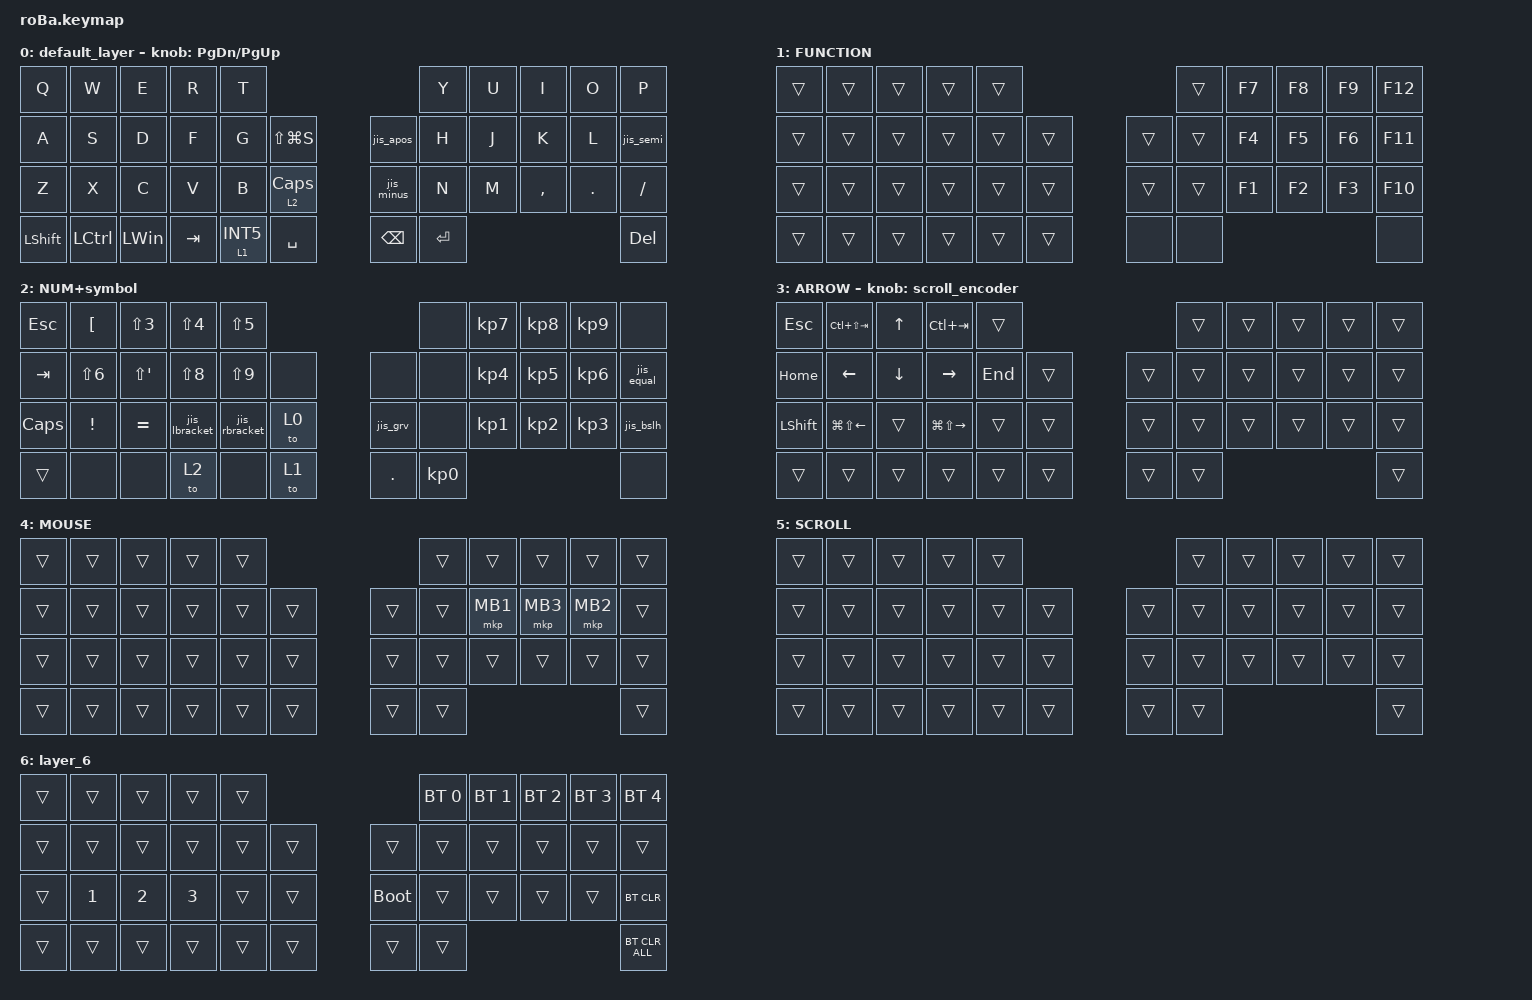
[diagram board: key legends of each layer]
#include <input/processors.dtsi>
#include <behaviors.dtsi>
#include <dt-bindings/zmk/bt.h>
#include <dt-bindings/zmk/keys.h>
#include <dt-bindings/zmk/pointing.h>

&mt {
    flavor = "balanced";
    quick-tap-ms = <0>;
};

&msc {
    acceleration-exponent = <0>;
    trigger-period-ms = <8>;
    time-to-max-speed-ms = <300>;
    delay-ms = <0>;
};

&trackball {
    automouse-layer = <4>;
    scroll-layers = <5>;

    // arrows {
    //     layers = <3>;
    //     bindings =
    //         <&kp RIGHT_ARROW>,
    //         <&kp LEFT_ARROW>,
    //         <&kp UP_ARROW>,
    //         <&kp DOWN_ARROW>;

    //     tick = <10>;
    //     wait-ms = <5>;
    //     tap-ms = <5>;
    // };
};

/ {
    scroll_encoder: scroll_encoder {
        compatible = "zmk,behavior-sensor-rotate";
        #sensor-binding-cells = <0>;
        bindings = <&msc MOVE_UP>, <&msc MOVE_DOWN>;
        tap-ms = <24>;
    };

    combos {
        compatible = "zmk,combos";

        double_quotation {
            bindings = <&kp DOUBLE_QUOTES>;
            key-positions = <20 21>;
        };

        eq {
            bindings = <&kp EQUAL>;
            key-positions = <24 25>;
        };
    };

    macros {
        to_layer_0: to_layer_0 {
            compatible = "zmk,behavior-macro-one-param";
            #binding-cells = <1>;
            bindings = <&to 0 &macro_param_1to1 &kp MACRO_PLACEHOLDER>;
            label = "TO_LAYER_0";
        };

        quote_pair: quote_pair {
            compatible = "zmk,behavior-macro";
            #binding-cells = <0>;
            bindings =
                <&kp RIGHT_BRACKET>,
                <&kp BACKSLASH>,
                <&kp LEFT_ARROW>;
            label = "QUOTE_PAIR";
        };

        brace_pair: brace_pair {
            compatible = "zmk,behavior-macro";
            #binding-cells = <0>;
            bindings =
                <&kp LEFT_BRACE>,
                <&kp RIGHT_BRACE>,
                <&kp LEFT_ARROW>;
            label = "BRACE_PAIR";
        };

        paren_pair: paren_pair {
            compatible = "zmk,behavior-macro";
            #binding-cells = <0>;
            bindings =
                <&kp LEFT_PARENTHESIS>,
                <&kp RIGHT_PARENTHESIS>,
                <&kp LEFT_ARROW>;
            label = "PAREN_PAIR";
        };
    };

    behaviors {
        jis_n2: jis_n2 {
            compatible = "zmk,behavior-mod-morph";
            #binding-cells = <0>;
            bindings = <&kp N2>, <&kp LEFT_BRACKET>;
            mods = <(MOD_LSFT|MOD_RSFT)>;
        };

        jis_n6: jis_n6 {
            compatible = "zmk,behavior-mod-morph";
            #binding-cells = <0>;
            bindings = <&kp N6>, <&kp EQUAL>;
            mods = <(MOD_LSFT|MOD_RSFT)>;
        };

        jis_n7: jis_n7 {
            compatible = "zmk,behavior-mod-morph";
            #binding-cells = <0>;
            bindings = <&kp N7>, <&kp LS(N6)>;
            mods = <(MOD_LSFT|MOD_RSFT)>;
        };

        jis_n8: jis_n8 {
            compatible = "zmk,behavior-mod-morph";
            #binding-cells = <0>;
            bindings = <&kp N8>, <&kp LS(APOS)>;
            mods = <(MOD_LSFT|MOD_RSFT)>;
        };

        jis_n9: jis_n9 {
            compatible = "zmk,behavior-mod-morph";
            #binding-cells = <0>;
            bindings = <&kp N9>, <&kp LS(N8)>;
            mods = <(MOD_LSFT|MOD_RSFT)>;
        };

        jis_n0: jis_n0 {
            compatible = "zmk,behavior-mod-morph";
            #binding-cells = <0>;
            bindings = <&kp N0>, <&kp LS(N9)>;
            mods = <(MOD_LSFT|MOD_RSFT)>;
        };

        jis_minus: jis_minus {
            compatible = "zmk,behavior-mod-morph";
            #binding-cells = <0>;
            bindings = <&kp MINUS>, <&kp LS(INT1)>;
            mods = <(MOD_LSFT|MOD_RSFT)>;
        };

        jis_equal: jis_equal {
            compatible = "zmk,behavior-mod-morph";
            #binding-cells = <0>;
            bindings = <&kp LS(MINUS)>, <&kp LS(SEMI)>;
            mods = <(MOD_LSFT|MOD_RSFT)>;
        };

        jis_lbracket: jis_lbracket {
            compatible = "zmk,behavior-mod-morph";
            #binding-cells = <0>;
            bindings = <&kp LEFT_BRACKET>, <&kp LS(LEFT_BRACKET)>;
            mods = <(MOD_LSFT|MOD_RSFT)>;
        };

        jis_rbracket: jis_rbracket {
            compatible = "zmk,behavior-mod-morph";
            #binding-cells = <0>;
            bindings = <&kp RIGHT_BRACKET>, <&kp LS(RIGHT_BRACKET)>;
            mods = <(MOD_LSFT|MOD_RSFT)>;
        };

        jis_semi: jis_semi {
            compatible = "zmk,behavior-mod-morph";
            #binding-cells = <0>;
            bindings = <&kp SEMI>, <&kp APOS>;
            mods = <(MOD_LSFT|MOD_RSFT)>;
        };

        jis_apos: jis_apos {
            compatible = "zmk,behavior-mod-morph";
            #binding-cells = <0>;
            bindings = <&kp LS(N7)>, <&kp LS(N2)>;
            mods = <(MOD_LSFT|MOD_RSFT)>;
        };

        jis_bslh: jis_bslh {
            compatible = "zmk,behavior-mod-morph";
            #binding-cells = <0>;
            bindings = <&kp INT1>, <&kp LS(INT3)>;
            mods = <(MOD_LSFT|MOD_RSFT)>;
        };

        jis_grv: jis_grv {
            compatible = "zmk,behavior-mod-morph";
            #binding-cells = <0>;
            bindings = <&kp LS(LEFT_BRACKET)>, <&kp LS(EQUAL)>;
            mods = <(MOD_LSFT|MOD_RSFT)>;
        };

        quote_or_brace_pair: quote_or_brace_pair {
            compatible = "zmk,behavior-mod-morph";
            #binding-cells = <0>;
            bindings = <&quote_pair>, <&brace_pair>;
            mods = <(MOD_LSFT|MOD_RSFT)>;
        };

        lt_to_layer_0: lt_to_layer_0 {
            compatible = "zmk,behavior-hold-tap";
            label = "LAYER_TAP_TO_0";
            bindings = <&mo>, <&to_layer_0>;

            #binding-cells = <2>;
            tapping-term-ms = <200>;
        };
    };

    keymap {
        compatible = "zmk,keymap";

        default_layer {
            bindings = <
&kp Q             &kp W         &kp E         &kp R                        &kp T                                                          &kp Y        &kp U  &kp I    &kp O    &kp P
&kp A             &kp S         &kp D         &kp F                        &kp G        &kp LS(LG(S))                      &jis_apos      &kp H        &kp J  &kp K      &kp L    &jis_semi
&kp Z             &kp X         &kp C         &kp V                        &kp B        &lt 2 CAPS                         &jis_minus  &kp N        &kp M  &kp COMMA  &kp DOT  &kp SLASH
&kp LEFT_SHIFT    &kp LCTRL     &kp LEFT_WIN  &kp TAB                      &lt 1 INT5     &kp SPACE                         &kp BACKSPACE  &kp ENTER                           &kp DEL
            >;

            sensor-bindings = <&inc_dec_kp PAGE_DOWN PG_UP >;
        };

        FUNCTION {
            bindings = <
&trans  &trans  &trans  &trans  &trans                       &trans  &kp F7  &kp F8  &kp F9  &kp F12
&trans  &trans  &trans  &trans  &trans  &trans      &trans   &trans  &kp F4  &kp F5  &kp F6  &kp F11
&trans  &trans  &trans  &trans  &trans  &trans      &trans   &trans  &kp F1  &kp F2  &kp F3  &kp F10
&trans  &trans  &trans  &trans  &trans  &trans      &none  &none                         &none
            >;
        };

        NUM_SYMBOL {
            bindings = <
&kp ESCAPE  &kp LEFT_BRACKET  &kp LS(N3)     &kp LS(N4)         &kp LS(N5)               &none  &kp KP_NUMBER_7  &kp KP_NUMBER_8  &kp KP_NUMBER_9  &none
&kp TAB     &kp LS(N6)        &kp LS(APOS)   &kp LS(N8)         &kp LS(N9)               &none  &none            &none            &kp KP_NUMBER_4  &kp KP_NUMBER_5  &kp KP_NUMBER_6  &jis_equal
&kp CAPS    &kp EXCLAMATION   &kp EQUAL      &jis_lbracket      &jis_rbracket            &to 0  &jis_grv            &none            &kp KP_NUMBER_1  &kp KP_NUMBER_2  &kp KP_NUMBER_3  &jis_bslh
&trans       &none             &none          &to 2              &none                    &to 1  &kp PERIOD       &kp KP_NUMBER_0                         &none
            >;
            display-name = "NUM+symbol";
        };

        ARROW {
            bindings = <
&kp ESCAPE      &kp LC(LS(TAB))         &kp UP_ARROW    &kp LC(TAB)              &trans                       &trans  &trans  &trans  &trans  &trans
&kp HOME        &kp LEFT_ARROW          &kp DOWN_ARROW  &kp RIGHT_ARROW          &kp END  &trans      &trans  &trans  &trans  &trans  &trans  &trans
&kp LEFT_SHIFT  &kp LG(LS(LEFT_ARROW))  &trans          &kp LG(LS(RIGHT_ARROW))  &trans   &trans      &trans  &trans  &trans  &trans  &trans  &trans
&trans          &trans                  &trans          &trans                   &trans   &trans      &trans  &trans                          &trans
            >;

            sensor-bindings = <&scroll_encoder>;
        };

        MOUSE {
            bindings = <
&trans  &trans  &trans  &trans  &trans                      &trans  &trans    &trans    &trans    &trans
&trans  &trans  &trans  &trans  &trans  &trans      &trans  &trans  &mkp MB1  &mkp MB3  &mkp MB2  &trans
&trans  &trans  &trans  &trans  &trans  &trans      &trans  &trans  &trans    &trans    &trans    &trans
&trans  &trans  &trans  &trans  &trans  &trans      &trans  &trans                                &trans
            >;
        };

        SCROLL {
            bindings = <
&trans  &trans  &trans  &trans  &trans                      &trans  &trans  &trans  &trans  &trans
&trans  &trans  &trans  &trans  &trans  &trans      &trans  &trans  &trans  &trans  &trans  &trans
&trans  &trans  &trans  &trans  &trans  &trans      &trans  &trans  &trans  &trans  &trans  &trans
&trans  &trans  &trans  &trans  &trans  &trans      &trans  &trans                          &trans
            >;
        };

        layer_6 {
            bindings = <
&trans  &trans        &trans        &trans        &trans                           &bt BT_SEL 0  &bt BT_SEL 1  &bt BT_SEL 2  &bt BT_SEL 3  &bt BT_SEL 4
&trans  &trans        &trans        &trans        &trans  &trans      &trans       &trans        &trans        &trans        &trans        &trans
&trans  &kp NUMBER_1  &kp NUMBER_2  &kp NUMBER_3  &trans  &trans      &bootloader  &trans        &trans        &trans        &trans        &bt BT_CLR
&trans  &trans        &trans        &trans        &trans  &trans      &trans       &trans                                                  &bt BT_CLR_ALL
            >;
        };
    };
};
